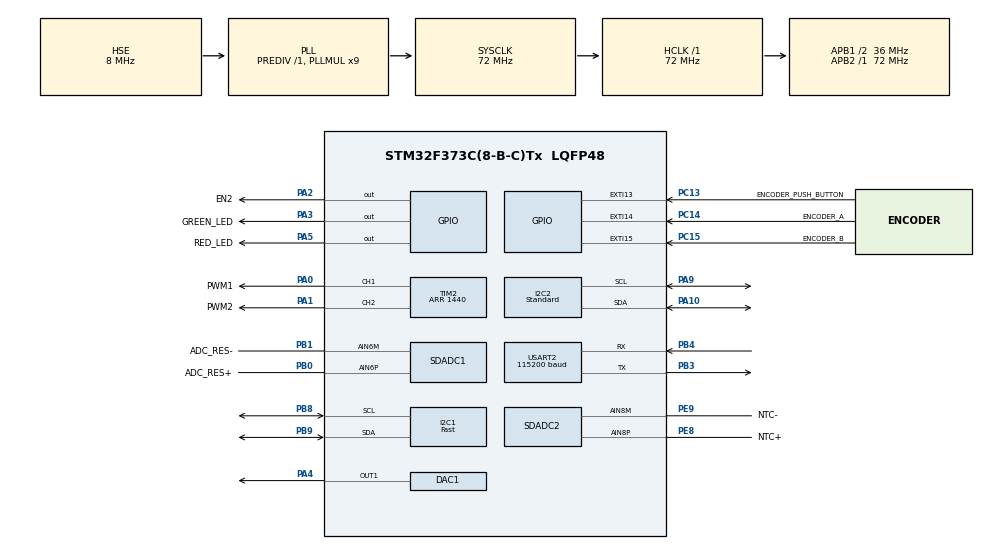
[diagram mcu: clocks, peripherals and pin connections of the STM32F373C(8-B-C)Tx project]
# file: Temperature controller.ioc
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ADC1.Channel-3\#ChannelRegularConversion=ADC_CHANNEL_VREFINT
ADC1.NbrOfConversionFlag=1
ADC1.Rank-3\#ChannelRegularConversion=1
ADC1.SamplingTime-3\#ChannelRegularConversion=ADC_SAMPLETIME_1CYCLE_5
ADC1.master=1
Dma.Request0=SDADC2
Dma.Request1=SDADC1
Dma.SDADC1.1.Direction=DMA_PERIPH_TO_MEMORY
Dma.SDADC1.1.Instance=DMA2_Channel3
Dma.SDADC1.1.MemDataAlignment=DMA_MDATAALIGN_HALFWORD
Dma.SDADC1.1.MemInc=DMA_MINC_ENABLE
Dma.SDADC1.1.Mode=DMA_CIRCULAR
Dma.SDADC1.1.PeriphDataAlignment=DMA_PDATAALIGN_HALFWORD
Dma.SDADC1.1.PeriphInc=DMA_PINC_DISABLE
Dma.SDADC1.1.Priority=DMA_PRIORITY_LOW
Dma.SDADC2.0.Direction=DMA_PERIPH_TO_MEMORY
Dma.SDADC2.0.Instance=DMA2_Channel4
Dma.SDADC2.0.MemDataAlignment=DMA_MDATAALIGN_HALFWORD
Dma.SDADC2.0.MemInc=DMA_MINC_ENABLE
Dma.SDADC2.0.Mode=DMA_CIRCULAR
Dma.SDADC2.0.PeriphDataAlignment=DMA_PDATAALIGN_HALFWORD
Dma.SDADC2.0.PeriphInc=DMA_PINC_DISABLE
Dma.SDADC2.0.Priority=DMA_PRIORITY_LOW
I2C1.I2C_Speed_Mode=I2C_Fast
I2C1.Timing=0x0000020B
I2C2.I2C_Speed_Mode=I2C_Standard
I2C2.Speed=50
I2C2.Timing=0x00101D7C
Mcu.Family=STM32F3
Mcu.Name=STM32F373C(8-B-C)Tx
Mcu.Package=LQFP48
NVIC.DMA2_Channel3_IRQn=true\:0\:0\:false\:false\:true\:false\:true
NVIC.DMA2_Channel4_IRQn=true\:0\:0\:false\:false\:true\:false\:true
NVIC.EXTI15_10_IRQn=true\:0\:0\:false\:false\:true\:true\:true
NVIC.I2C2_ER_IRQn=true\:0\:0\:false\:false\:true\:true\:true
NVIC.I2C2_EV_IRQn=true\:0\:0\:false\:false\:true\:true\:true
NVIC.PriorityGroup=NVIC_PRIORITYGROUP_4
NVIC.TIM12_IRQn=true\:0\:0\:false\:false\:true\:true\:true
NVIC.TIM3_IRQn=true\:0\:0\:false\:false\:true\:true\:true
NVIC.TIM4_IRQn=true\:0\:0\:false\:false\:true\:true\:true
NVIC.TIM6_DAC1_IRQn=true\:0\:0\:false\:false\:true\:true\:true
NVIC.TIM7_IRQn=true\:0\:0\:false\:false\:true\:true\:true
NVIC.USART2_IRQn=true\:0\:0\:false\:false\:true\:true\:true
PA0.GPIO_Label=PWM1
PA0.GPIO_Speed=GPIO_SPEED_FREQ_HIGH
PA0.Signal=S_TIM2_CH1_ETR
PA1.GPIO_Label=PWM2
PA1.GPIO_Speed=GPIO_SPEED_FREQ_HIGH
PA1.Signal=S_TIM2_CH2
PA10.GPIO_Pu=GPIO_PULLUP
PA10.Mode=I2C
PA10.Signal=I2C2_SDA
PA13.Mode=Serial_Wire
PA13.Signal=SYS_JTMS-SWDIO
PA14.Mode=Serial_Wire
PA14.Signal=SYS_JTCK-SWCLK
PA2.GPIO_Label=EN2
PA2.Signal=GPIO_Output
PA3.GPIO_Label=GREEN_LED
PA3.Signal=GPIO_Output
PA4.Signal=COMP_DAC11_group
PA5.GPIO_Label=RED_LED
PA5.Signal=GPIO_Output
PA9.GPIO_Pu=GPIO_PULLUP
PA9.Mode=I2C
PA9.Signal=I2C2_SCL
PB0.GPIO_Label=ADC_RES+
PB0.Mode=IN6-Differential
PB0.Signal=SDADC1_AIN6P
PB1.GPIO_Label=ADC_RES-
PB1.Mode=IN6-Differential
PB1.Signal=SDADC1_AIN6M
PB3.Mode=Asynchronous
PB3.Signal=USART2_TX
PB4.Mode=Asynchronous
PB4.Signal=USART2_RX
PB8.GPIO_Pu=GPIO_PULLUP
PB8.Mode=I2C
PB8.Signal=I2C1_SCL
PB9.GPIO_Pu=GPIO_PULLUP
PB9.Mode=I2C
PB9.Signal=I2C1_SDA
PC13.GPIO_Label=ENCODER_PUSH_BUTTON
PC13.GPIO_ModeDefaultEXTI=GPIO_MODE_IT_FALLING
PC13.Signal=GPXTI13
PC14-OSC32_IN.GPIO_Label=ENCODER_A
PC14-OSC32_IN.Signal=GPXTI14
PC15-OSC32_OUT.GPIO_Label=ENCODER_B
PC15-OSC32_OUT.Signal=GPXTI15
PE8.GPIO_Label=NTC+
PE8.Mode=IN8-Differential
PE8.Signal=SDADC2_AIN8P
PE9.GPIO_Label=NTC-
PE9.Mode=IN8-Differential
PE9.Signal=SDADC2_AIN8M
PF0-OSC_IN.Mode=HSE-External-Oscillator
PF0-OSC_IN.Signal=RCC_OSC_IN
PF1-OSC_OUT.Mode=HSE-External-Oscillator
PF1-OSC_OUT.Signal=RCC_OSC_OUT
ProjectManager.HeapSize=0x200
ProjectManager.StackSize=0x400
ProjectManager.TargetToolchain=STM32CubeIDE
RCC.ADCPresc=RCC_ADC1PCLK2_DIV8
RCC.AHBFreq_Value=72000000
RCC.APB1CLKDivider=RCC_HCLK_DIV2
RCC.APB1Freq_Value=36000000
RCC.APB1TimFreq_Value=72000000
RCC.APB2Freq_Value=72000000
RCC.APB2TimFreq_Value=72000000
RCC.CortexFreq_Value=72000000
RCC.HCLKFreq_Value=72000000
RCC.HSE_VALUE=8000000
RCC.HSI_VALUE=8000000
RCC.LSE_VALUE=32768
RCC.PLLMUL=RCC_PLL_MUL9
RCC.PLLSourceVirtual=RCC_PLLSOURCE_HSE
RCC.SDADCPresc=RCC_SDADCSYSCLK_DIV24
RCC.SYSCLKFreq_VALUE=72000000
RCC.SYSCLKSource=RCC_SYSCLKSOURCE_PLLCLK
RCC.USBFreq_Value=72000000
SDADC1.Channel-9\#ChannelRegularConversion=SDADC_CHANNEL_6
SDADC1.ConfIndex-9\#ChannelRegularConversion=SDADC_CONF_INDEX_0
SDADC1.ContinuousMode=SDADC_CONTINUOUS_CONV_ON
SDADC1.EnableRegularconversion=ENABLE
SDADC1.Gain0=SDADC_GAIN_1_2
SDADC1.NbrOfConversionFlag=1
SDADC1.SlowClockMode=SDADC_SLOW_CLOCK_DISABLE
SDADC2.Channel-5\#ChannelRegularConversion=SDADC_CHANNEL_8
SDADC2.ConfIndex-5\#ChannelRegularConversion=SDADC_CONF_INDEX_0
SDADC2.ContinuousMode=SDADC_CONTINUOUS_CONV_ON
SDADC2.EnableRegularconversion=ENABLE
SDADC2.Gain0=SDADC_GAIN_1_2
SDADC2.NbrOfConversionFlag=1
SDADC2.SlowClockMode=SDADC_SLOW_CLOCK_DISABLE
SH.COMP_DAC11_group.0=DAC1_OUT1,DAC_OUT1
SH.S_TIM2_CH1_ETR.0=TIM2_CH1,PWM Generation1 CH1
SH.S_TIM2_CH2.0=TIM2_CH2,PWM Generation2 CH2
TIM12.Period=100
TIM12.Prescaler=7200
TIM2.Channel-PWM\ Generation1\ CH1=TIM_CHANNEL_1
TIM2.Channel-PWM\ Generation2\ CH2=TIM_CHANNEL_2
TIM2.OCFastMode_PWM-PWM\ Generation1\ CH1=TIM_OCFAST_ENABLE
TIM2.OCFastMode_PWM-PWM\ Generation2\ CH2=TIM_OCFAST_ENABLE
TIM2.Period=1440
TIM3.AutoReloadPreload=TIM_AUTORELOAD_PRELOAD_DISABLE
TIM3.ClockDivision=TIM_CLOCKDIVISION_DIV1
TIM3.Period=10000
TIM3.Prescaler=7200
TIM4.ClockDivision=TIM_CLOCKDIVISION_DIV1
TIM4.Period=100
TIM4.Prescaler=7200
TIM6.Period=1000
TIM6.Prescaler=7200
TIM7.AutoReloadPreload=TIM_AUTORELOAD_PRELOAD_DISABLE
TIM7.Period=1000
TIM7.Prescaler=7200
USART2.AutoBaudRateEnableParam=UART_ADVFEATURE_AUTOBAUDRATE_DISABLE
USART2.BaudRate=115200
USART2.Parity=PARITY_NONE
USART2.VirtualMode-Asynchronous=VM_ASYNC
VP_ADC1_Vref_Input.Mode=IN-Vrefint
VP_CRC_VS_CRC.Mode=CRC_Activate
VP_SDADC1_CONF0.Mode=ConfigZero
VP_SDADC2_CONF0.Mode=ConfigZero
VP_TIM12_VS_ClockSourceINT.Mode=Internal
VP_TIM12_VS_ClockSourceITR.Mode=TriggerSource_ITR0
VP_TIM2_VS_ClockSourceINT.Mode=Internal
VP_TIM3_VS_ClockSourceINT.Mode=Internal
VP_TIM4_VS_ClockSourceINT.Mode=Internal
VP_TIM6_VS_ClockSourceINT.Mode=Enable_Timer
VP_TIM7_VS_ClockSourceINT.Mode=Enable_Timer
board=custom

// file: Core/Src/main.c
/* USER CODE BEGIN Header */
/**
  ******************************************************************************
  * @file           : main.c
  * @brief          : Main program body
  ******************************************************************************
  * @attention
  *
  * <h2><center>&copy; Copyright (c) 2020 STMicroelectronics.
  * All rights reserved.</center></h2>
  *
  * This software component is licensed by ST under BSD 3-Clause license,
  * the "License"; You may not use this file except in compliance with the
  * License. You may obtain a copy of the License at:
  *                        opensource.org/licenses/BSD-3-Clause
  *
  ******************************************************************************
  */
/* USER CODE END Header */
#include "main.h"

ADC_HandleTypeDef hadc1;

CRC_HandleTypeDef hcrc;

DAC_HandleTypeDef hdac1;

I2C_HandleTypeDef hi2c1;
I2C_HandleTypeDef hi2c2;

SDADC_HandleTypeDef hsdadc1;
SDADC_HandleTypeDef hsdadc2;
DMA_HandleTypeDef hdma_sdadc1;
DMA_HandleTypeDef hdma_sdadc2;

TIM_HandleTypeDef htim2;
TIM_HandleTypeDef htim3;
TIM_HandleTypeDef htim4;
TIM_HandleTypeDef htim6;
TIM_HandleTypeDef htim7;
TIM_HandleTypeDef htim12;

UART_HandleTypeDef huart2;

/* USER CODE BEGIN PV */
INA226 INA226_1,INA226_2;
/* USER CODE END PV */

void SystemClock_Config(void);
static void MX_GPIO_Init(void);
static void MX_DMA_Init(void);
static void MX_I2C1_Init(void);
static void MX_I2C2_Init(void);
static void MX_TIM2_Init(void);
static void MX_TIM3_Init(void);
static void MX_TIM4_Init(void);
static void MX_ADC1_Init(void);
static void MX_SDADC1_Init(void);
static void MX_SDADC2_Init(void);
static void MX_TIM7_Init(void);
static void MX_TIM6_Init(void);
static void MX_TIM12_Init(void);
static void MX_CRC_Init(void);
static void MX_USART2_UART_Init(void);
static void MX_DAC1_Init(void);

/* USER CODE BEGIN 0 */
//static const uint8_t    INA226_BUS_VOLTAGE         = 0x02;
/* USER CODE END 0 */

int main(void)
{

  /* MCU Configuration--------------------------------------------------------*/

  /* Reset of all peripherals, Initializes the Flash interface and the Systick. */
  HAL_Init();

  /* Configure the system clock */
  SystemClock_Config();

  /* Initialize all configured peripherals */
  MX_GPIO_Init();
  MX_DMA_Init();
  MX_I2C1_Init();
  MX_I2C2_Init();
  MX_TIM2_Init();
  MX_TIM3_Init();
  MX_TIM4_Init();
  MX_ADC1_Init();
  MX_SDADC1_Init();
  MX_SDADC2_Init();
  MX_TIM7_Init();
  MX_TIM6_Init();
  MX_TIM12_Init();
  MX_CRC_Init();
  MX_USART2_UART_Init();
  MX_DAC1_Init();
  /* USER CODE BEGIN 2 */
  htim2.Init.Period = temp_controller.pwm_counter_period;
  //------- SDADC DMA setup ----------------------------------
  read_flash();
  HAL_SDADC_CalibrationStart(&hsdadc1, SDADC_CALIBRATION_SEQ_3);
  HAL_SDADC_PollForCalibEvent(&hsdadc1, HAL_MAX_DELAY);
  HAL_SDADC_Start_DMA(&hsdadc1, (uint32_t*) adc_buf, 1);
  HAL_SDADC_CalibrationStart(&hsdadc2, SDADC_CALIBRATION_SEQ_3);
  HAL_SDADC_PollForCalibEvent(&hsdadc2, HAL_MAX_DELAY);
  HAL_SDADC_Start_DMA(&hsdadc2, (uint32_t*) &adc_buf[1], 1);
  //-----INA sensors setup ----
  INA226_Init(&INA226_1, &hi2c2, INA226_ADRESS_0,0.033,2);	//1.5A max
  INA226_Init(&INA226_2, &hi2c2, INA226_ADRESS_1,0.033,6);	//5A max
  //--------------- PWM --------------------------------
  HAL_TIM_PWM_Start(&htim2, TIM_CHANNEL_1);				//PWM
  HAL_TIM_PWM_Start(&htim2, TIM_CHANNEL_2);				//PWM
  HAL_GPIO_WritePin(EN2_GPIO_Port, EN2_Pin, 1); 		//Enable TPS565201
  HAL_DAC_Start(&hdac1, DAC_CHANNEL_1);
  //-----Timer interrupt functions ----
  HAL_TIM_Base_Start_IT(&htim3); 	//1second interrupt
  HAL_TIM_Base_Start_IT(&htim4);	//10miliseconds interrupt
  HAL_TIM_Base_Start_IT(&htim12);	//10miliseconds interrupt
  HAL_TIM_Base_Start_IT(&htim6); 	//100miliseconds interrupt
  HAL_TIM_Base_Start_IT(&htim7); 	//10second interrupt

  HAL_NVIC_SetPriority(TIM3_IRQn, 1, 0);
  HAL_NVIC_SetPriority(TIM4_IRQn, 1, 0);
  HAL_NVIC_SetPriority(TIM6_DAC1_IRQn, 1, 0);
  HAL_NVIC_SetPriority(TIM7_IRQn, 1, 0);
  HAL_NVIC_SetPriority(TIM12_IRQn, 1, 0);
  HAL_NVIC_SetPriority(USART2_IRQn, 0, 0);
  //-----OLED display setup----
  u8g2_Setup_ssd1306_128x64_noname_f(&u8g2, U8G2_R0, u8x8_byte_stm32_hw_i2c, u8x8_stm32_gpio_and_delay);
  u8g2_InitDisplay(&u8g2);
  u8g2_SetPowerSave(&u8g2, 0);
  Redraw_display();
  temp_controller.current_temp = 25;
  //main cycle
  int a=64;
  while(1){
	  if(flag_10ms){
		  flag_10ms=0;
	  }
	  if(flag_200ms){
		  flag_200ms=0;
		  //blink();
		  Redraw_display();
		  SendMeasurements_UART();
	  	  }
	  if(flag_1s){
		  flag_1s=0;
		  INA226_MeasureAll(&INA226_1);
		  INA226_MeasureAll(&INA226_2);
	  }
	  if(temp_controller.flash.menu == SNAKE_MENU)	snake_start(&u8g2);
	  HAL_UART_Receive_IT (&huart2, &UART_rxBuffer[0], a); //Dont knwo why but without it, forgets interrupt
	  HAL_Delay(1);
  }

  /* USER CODE END 2 */

  /* Infinite loop */
  while (1)
  {

  }
}

void SystemClock_Config(void)
{
  RCC_OscInitTypeDef RCC_OscInitStruct = {0};
  RCC_ClkInitTypeDef RCC_ClkInitStruct = {0};
  RCC_PeriphCLKInitTypeDef PeriphClkInit = {0};

  /** Initializes the RCC Oscillators according to the specified parameters
  * in the RCC_OscInitTypeDef structure.
  */
  RCC_OscInitStruct.OscillatorType = RCC_OSCILLATORTYPE_HSI|RCC_OSCILLATORTYPE_HSE;
  RCC_OscInitStruct.HSEState = RCC_HSE_ON;
  RCC_OscInitStruct.HSEPredivValue = RCC_HSE_PREDIV_DIV1;
  RCC_OscInitStruct.HSIState = RCC_HSI_ON;
  RCC_OscInitStruct.HSICalibrationValue = RCC_HSICALIBRATION_DEFAULT;
  RCC_OscInitStruct.PLL.PLLState = RCC_PLL_ON;
  RCC_OscInitStruct.PLL.PLLSource = RCC_PLLSOURCE_HSE;
  RCC_OscInitStruct.PLL.PLLMUL = RCC_PLL_MUL9;
  if (HAL_RCC_OscConfig(&RCC_OscInitStruct) != HAL_OK)
  {
    Error_Handler();
  }
  /** Initializes the CPU, AHB and APB buses clocks
  */
  RCC_ClkInitStruct.ClockType = RCC_CLOCKTYPE_HCLK|RCC_CLOCKTYPE_SYSCLK
                              |RCC_CLOCKTYPE_PCLK1|RCC_CLOCKTYPE_PCLK2;
  RCC_ClkInitStruct.SYSCLKSource = RCC_SYSCLKSOURCE_PLLCLK;
  RCC_ClkInitStruct.AHBCLKDivider = RCC_SYSCLK_DIV1;
  RCC_ClkInitStruct.APB1CLKDivider = RCC_HCLK_DIV2;
  RCC_ClkInitStruct.APB2CLKDivider = RCC_HCLK_DIV1;

  if (HAL_RCC_ClockConfig(&RCC_ClkInitStruct, FLASH_LATENCY_2) != HAL_OK)
  {
    Error_Handler();
  }
  PeriphClkInit.PeriphClockSelection = RCC_PERIPHCLK_USART2|RCC_PERIPHCLK_I2C1
                              |RCC_PERIPHCLK_I2C2|RCC_PERIPHCLK_ADC1
                              |RCC_PERIPHCLK_SDADC;
  PeriphClkInit.Usart2ClockSelection = RCC_USART2CLKSOURCE_PCLK1;
  PeriphClkInit.I2c1ClockSelection = RCC_I2C1CLKSOURCE_HSI;
  PeriphClkInit.I2c2ClockSelection = RCC_I2C2CLKSOURCE_HSI;
  PeriphClkInit.SdadcClockSelection = RCC_SDADCSYSCLK_DIV24;
  PeriphClkInit.Adc1ClockSelection = RCC_ADC1PCLK2_DIV8;

  if (HAL_RCCEx_PeriphCLKConfig(&PeriphClkInit) != HAL_OK)
  {
    Error_Handler();
  }
  HAL_PWREx_EnableSDADC(PWR_SDADC_ANALOG1);
  HAL_PWREx_EnableSDADC(PWR_SDADC_ANALOG2);
}

static void MX_ADC1_Init(void)
{

  ADC_ChannelConfTypeDef sConfig = {0};

  /** Common config
  */
  hadc1.Instance = ADC1;
  hadc1.Init.ScanConvMode = ADC_SCAN_DISABLE;
  hadc1.Init.ContinuousConvMode = DISABLE;
  hadc1.Init.DiscontinuousConvMode = DISABLE;
  hadc1.Init.ExternalTrigConv = ADC_SOFTWARE_START;
  hadc1.Init.DataAlign = ADC_DATAALIGN_RIGHT;
  hadc1.Init.NbrOfConversion = 1;
  if (HAL_ADC_Init(&hadc1) != HAL_OK)
  {
    Error_Handler();
  }
  /** Configure Regular Channel
  */
  sConfig.Channel = ADC_CHANNEL_VREFINT;
  sConfig.Rank = ADC_REGULAR_RANK_1;
  sConfig.SamplingTime = ADC_SAMPLETIME_1CYCLE_5;
  if (HAL_ADC_ConfigChannel(&hadc1, &sConfig) != HAL_OK)
  {
    Error_Handler();
  }

}

static void MX_CRC_Init(void)
{

  hcrc.Instance = CRC;
  hcrc.Init.DefaultPolynomialUse = DEFAULT_POLYNOMIAL_ENABLE;
  hcrc.Init.DefaultInitValueUse = DEFAULT_INIT_VALUE_ENABLE;
  hcrc.Init.InputDataInversionMode = CRC_INPUTDATA_INVERSION_NONE;
  hcrc.Init.OutputDataInversionMode = CRC_OUTPUTDATA_INVERSION_DISABLE;
  hcrc.InputDataFormat = CRC_INPUTDATA_FORMAT_BYTES;
  if (HAL_CRC_Init(&hcrc) != HAL_OK)
  {
    Error_Handler();
  }

}

static void MX_DAC1_Init(void)
{

  DAC_ChannelConfTypeDef sConfig = {0};

  /** DAC Initialization
  */
  hdac1.Instance = DAC1;
  if (HAL_DAC_Init(&hdac1) != HAL_OK)
  {
    Error_Handler();
  }
  /** DAC channel OUT1 config
  */
  sConfig.DAC_Trigger = DAC_TRIGGER_NONE;
  sConfig.DAC_OutputBuffer = DAC_OUTPUTBUFFER_ENABLE;
  if (HAL_DAC_ConfigChannel(&hdac1, &sConfig, DAC_CHANNEL_1) != HAL_OK)
  {
    Error_Handler();
  }

}

static void MX_I2C1_Init(void)
{

  hi2c1.Instance = I2C1;
  hi2c1.Init.Timing = 0x0000020B;
  hi2c1.Init.OwnAddress1 = 0;
  hi2c1.Init.AddressingMode = I2C_ADDRESSINGMODE_7BIT;
  hi2c1.Init.DualAddressMode = I2C_DUALADDRESS_DISABLE;
  hi2c1.Init.OwnAddress2 = 0;
  hi2c1.Init.OwnAddress2Masks = I2C_OA2_NOMASK;
  hi2c1.Init.GeneralCallMode = I2C_GENERALCALL_DISABLE;
  hi2c1.Init.NoStretchMode = I2C_NOSTRETCH_DISABLE;
  if (HAL_I2C_Init(&hi2c1) != HAL_OK)
  {
    Error_Handler();
  }
  /** Configure Analogue filter
  */
  if (HAL_I2CEx_ConfigAnalogFilter(&hi2c1, I2C_ANALOGFILTER_ENABLE) != HAL_OK)
  {
    Error_Handler();
  }
  /** Configure Digital filter
  */
  if (HAL_I2CEx_ConfigDigitalFilter(&hi2c1, 0) != HAL_OK)
  {
    Error_Handler();
  }

}

static void MX_I2C2_Init(void)
{

  hi2c2.Instance = I2C2;
  hi2c2.Init.Timing = 0x00101D7C;
  hi2c2.Init.OwnAddress1 = 0;
  hi2c2.Init.AddressingMode = I2C_ADDRESSINGMODE_7BIT;
  hi2c2.Init.DualAddressMode = I2C_DUALADDRESS_DISABLE;
  hi2c2.Init.OwnAddress2 = 0;
  hi2c2.Init.OwnAddress2Masks = I2C_OA2_NOMASK;
  hi2c2.Init.GeneralCallMode = I2C_GENERALCALL_DISABLE;
  hi2c2.Init.NoStretchMode = I2C_NOSTRETCH_DISABLE;
  if (HAL_I2C_Init(&hi2c2) != HAL_OK)
  {
    Error_Handler();
  }
  /** Configure Analogue filter
  */
  if (HAL_I2CEx_ConfigAnalogFilter(&hi2c2, I2C_ANALOGFILTER_ENABLE) != HAL_OK)
  {
    Error_Handler();
  }
  /** Configure Digital filter
  */
  if (HAL_I2CEx_ConfigDigitalFilter(&hi2c2, 0) != HAL_OK)
  {
    Error_Handler();
  }

}

static void MX_SDADC1_Init(void)
{

  SDADC_ConfParamTypeDef ConfParamStruct = {0};

  /** Configure the SDADC low power mode, fast conversion mode,
  slow clock mode and SDADC1 reference voltage
  */
  hsdadc1.Instance = SDADC1;
  hsdadc1.Init.IdleLowPowerMode = SDADC_LOWPOWER_NONE;
  hsdadc1.Init.FastConversionMode = SDADC_FAST_CONV_DISABLE;
  hsdadc1.Init.SlowClockMode = SDADC_SLOW_CLOCK_DISABLE;
  hsdadc1.Init.ReferenceVoltage = SDADC_VREF_EXT;
  if (HAL_SDADC_Init(&hsdadc1) != HAL_OK)
  {
    Error_Handler();
  }
  /** Configure The Regular Mode
  */
  if (HAL_SDADC_SelectRegularTrigger(&hsdadc1, SDADC_SOFTWARE_TRIGGER) != HAL_OK)
  {
    Error_Handler();
  }
  /** Set parameters for SDADC configuration 0 Register
  */
  ConfParamStruct.InputMode = SDADC_INPUT_MODE_DIFF;
  ConfParamStruct.Gain = SDADC_GAIN_1_2;
  ConfParamStruct.CommonMode = SDADC_COMMON_MODE_VSSA;
  ConfParamStruct.Offset = 0;
  if (HAL_SDADC_PrepareChannelConfig(&hsdadc1, SDADC_CONF_INDEX_0, &ConfParamStruct) != HAL_OK)
  {
    Error_Handler();
  }
  /** Configure the Regular Channel
  */
  if (HAL_SDADC_AssociateChannelConfig(&hsdadc1, SDADC_CHANNEL_6, SDADC_CONF_INDEX_0) != HAL_OK)
  {
    Error_Handler();
  }
  if (HAL_SDADC_ConfigChannel(&hsdadc1, SDADC_CHANNEL_6, SDADC_CONTINUOUS_CONV_ON) != HAL_OK)
  {
    Error_Handler();
  }

}

static void MX_SDADC2_Init(void)
{

  SDADC_ConfParamTypeDef ConfParamStruct = {0};

  /** Configure the SDADC low power mode, fast conversion mode,
  slow clock mode and SDADC1 reference voltage
  */
  hsdadc2.Instance = SDADC2;
  hsdadc2.Init.IdleLowPowerMode = SDADC_LOWPOWER_NONE;
  hsdadc2.Init.FastConversionMode = SDADC_FAST_CONV_DISABLE;
  hsdadc2.Init.SlowClockMode = SDADC_SLOW_CLOCK_DISABLE;
  hsdadc2.Init.ReferenceVoltage = SDADC_VREF_EXT;
  if (HAL_SDADC_Init(&hsdadc2) != HAL_OK)
  {
    Error_Handler();
  }
  /** Configure The Regular Mode
  */
  if (HAL_SDADC_SelectRegularTrigger(&hsdadc2, SDADC_SOFTWARE_TRIGGER) != HAL_OK)
  {
    Error_Handler();
  }
  /** Set parameters for SDADC configuration 0 Register
  */
  ConfParamStruct.InputMode = SDADC_INPUT_MODE_DIFF;
  ConfParamStruct.Gain = SDADC_GAIN_1_2;
  ConfParamStruct.CommonMode = SDADC_COMMON_MODE_VSSA;
  ConfParamStruct.Offset = 0;
  if (HAL_SDADC_PrepareChannelConfig(&hsdadc2, SDADC_CONF_INDEX_0, &ConfParamStruct) != HAL_OK)
  {
    Error_Handler();
  }
  /** Configure the Regular Channel
  */
  if (HAL_SDADC_AssociateChannelConfig(&hsdadc2, SDADC_CHANNEL_8, SDADC_CONF_INDEX_0) != HAL_OK)
  {
    Error_Handler();
  }
  if (HAL_SDADC_ConfigChannel(&hsdadc2, SDADC_CHANNEL_8, SDADC_CONTINUOUS_CONV_ON) != HAL_OK)
  {
    Error_Handler();
  }

}

static void MX_TIM2_Init(void)
{

  TIM_ClockConfigTypeDef sClockSourceConfig = {0};
  TIM_MasterConfigTypeDef sMasterConfig = {0};
  TIM_OC_InitTypeDef sConfigOC = {0};

  htim2.Instance = TIM2;
  htim2.Init.Prescaler = 0;
  htim2.Init.CounterMode = TIM_COUNTERMODE_UP;
  htim2.Init.Period = 1440;
  htim2.Init.ClockDivision = TIM_CLOCKDIVISION_DIV1;
  htim2.Init.AutoReloadPreload = TIM_AUTORELOAD_PRELOAD_DISABLE;
  if (HAL_TIM_Base_Init(&htim2) != HAL_OK)
  {
    Error_Handler();
  }
  sClockSourceConfig.ClockSource = TIM_CLOCKSOURCE_INTERNAL;
  if (HAL_TIM_ConfigClockSource(&htim2, &sClockSourceConfig) != HAL_OK)
  {
    Error_Handler();
  }
  if (HAL_TIM_PWM_Init(&htim2) != HAL_OK)
  {
    Error_Handler();
  }
  sMasterConfig.MasterOutputTrigger = TIM_TRGO_RESET;
  sMasterConfig.MasterSlaveMode = TIM_MASTERSLAVEMODE_DISABLE;
  if (HAL_TIMEx_MasterConfigSynchronization(&htim2, &sMasterConfig) != HAL_OK)
  {
    Error_Handler();
  }
  sConfigOC.OCMode = TIM_OCMODE_PWM1;
  sConfigOC.Pulse = 0;
  sConfigOC.OCPolarity = TIM_OCPOLARITY_HIGH;
  sConfigOC.OCFastMode = TIM_OCFAST_ENABLE;
  if (HAL_TIM_PWM_ConfigChannel(&htim2, &sConfigOC, TIM_CHANNEL_1) != HAL_OK)
  {
    Error_Handler();
  }
  if (HAL_TIM_PWM_ConfigChannel(&htim2, &sConfigOC, TIM_CHANNEL_2) != HAL_OK)
  {
    Error_Handler();
  }
  HAL_TIM_MspPostInit(&htim2);

}

static void MX_TIM3_Init(void)
{

  TIM_ClockConfigTypeDef sClockSourceConfig = {0};
  TIM_MasterConfigTypeDef sMasterConfig = {0};

  htim3.Instance = TIM3;
  htim3.Init.Prescaler = 7200;
  htim3.Init.CounterMode = TIM_COUNTERMODE_UP;
  htim3.Init.Period = 10000;
  htim3.Init.ClockDivision = TIM_CLOCKDIVISION_DIV1;
  htim3.Init.AutoReloadPreload = TIM_AUTORELOAD_PRELOAD_DISABLE;
  if (HAL_TIM_Base_Init(&htim3) != HAL_OK)
  {
    Error_Handler();
  }
  sClockSourceConfig.ClockSource = TIM_CLOCKSOURCE_INTERNAL;
  if (HAL_TIM_ConfigClockSource(&htim3, &sClockSourceConfig) != HAL_OK)
  {
    Error_Handler();
  }
  sMasterConfig.MasterOutputTrigger = TIM_TRGO_RESET;
  sMasterConfig.MasterSlaveMode = TIM_MASTERSLAVEMODE_DISABLE;
  if (HAL_TIMEx_MasterConfigSynchronization(&htim3, &sMasterConfig) != HAL_OK)
  {
    Error_Handler();
  }

}

static void MX_TIM4_Init(void)
{

  TIM_ClockConfigTypeDef sClockSourceConfig = {0};
  TIM_MasterConfigTypeDef sMasterConfig = {0};

  htim4.Instance = TIM4;
  htim4.Init.Prescaler = 7200;
  htim4.Init.CounterMode = TIM_COUNTERMODE_UP;
  htim4.Init.Period = 100;
  htim4.Init.ClockDivision = TIM_CLOCKDIVISION_DIV1;
  htim4.Init.AutoReloadPreload = TIM_AUTORELOAD_PRELOAD_DISABLE;
  if (HAL_TIM_Base_Init(&htim4) != HAL_OK)
  {
    Error_Handler();
  }
  sClockSourceConfig.ClockSource = TIM_CLOCKSOURCE_INTERNAL;
  if (HAL_TIM_ConfigClockSource(&htim4, &sClockSourceConfig) != HAL_OK)
  {
    Error_Handler();
  }
  sMasterConfig.MasterOutputTrigger = TIM_TRGO_RESET;
  sMasterConfig.MasterSlaveMode = TIM_MASTERSLAVEMODE_DISABLE;
  if (HAL_TIMEx_MasterConfigSynchronization(&htim4, &sMasterConfig) != HAL_OK)
  {
    Error_Handler();
  }

}

static void MX_TIM6_Init(void)
{

  TIM_MasterConfigTypeDef sMasterConfig = {0};

  htim6.Instance = TIM6;
  htim6.Init.Prescaler = 7200;
  htim6.Init.CounterMode = TIM_COUNTERMODE_UP;
  htim6.Init.Period = 1000;
  htim6.Init.AutoReloadPreload = TIM_AUTORELOAD_PRELOAD_DISABLE;
  if (HAL_TIM_Base_Init(&htim6) != HAL_OK)
  {
    Error_Handler();
  }
  sMasterConfig.MasterOutputTrigger = TIM_TRGO_RESET;
  sMasterConfig.MasterSlaveMode = TIM_MASTERSLAVEMODE_DISABLE;
  if (HAL_TIMEx_MasterConfigSynchronization(&htim6, &sMasterConfig) != HAL_OK)
  {
    Error_Handler();
  }

}

static void MX_TIM7_Init(void)
{

  TIM_MasterConfigTypeDef sMasterConfig = {0};

  htim7.Instance = TIM7;
  htim7.Init.Prescaler = 7200;
  htim7.Init.CounterMode = TIM_COUNTERMODE_UP;
  htim7.Init.Period = 1000;
  htim7.Init.AutoReloadPreload = TIM_AUTORELOAD_PRELOAD_DISABLE;
  if (HAL_TIM_Base_Init(&htim7) != HAL_OK)
  {
    Error_Handler();
  }
  sMasterConfig.MasterOutputTrigger = TIM_TRGO_RESET;
  sMasterConfig.MasterSlaveMode = TIM_MASTERSLAVEMODE_DISABLE;
  if (HAL_TIMEx_MasterConfigSynchronization(&htim7, &sMasterConfig) != HAL_OK)
  {
    Error_Handler();
  }

}

static void MX_TIM12_Init(void)
{

  TIM_ClockConfigTypeDef sClockSourceConfig = {0};
  TIM_SlaveConfigTypeDef sSlaveConfig = {0};

  htim12.Instance = TIM12;
  htim12.Init.Prescaler = 7200;
  htim12.Init.CounterMode = TIM_COUNTERMODE_UP;
  htim12.Init.Period = 100;
  htim12.Init.ClockDivision = TIM_CLOCKDIVISION_DIV1;
  htim12.Init.AutoReloadPreload = TIM_AUTORELOAD_PRELOAD_DISABLE;
  if (HAL_TIM_Base_Init(&htim12) != HAL_OK)
  {
    Error_Handler();
  }
  sClockSourceConfig.ClockSource = TIM_CLOCKSOURCE_INTERNAL;
  if (HAL_TIM_ConfigClockSource(&htim12, &sClockSourceConfig) != HAL_OK)
  {
    Error_Handler();
  }
  sSlaveConfig.SlaveMode = TIM_SLAVEMODE_DISABLE;
  sSlaveConfig.InputTrigger = TIM_TS_ITR0;
  if (HAL_TIM_SlaveConfigSynchro(&htim12, &sSlaveConfig) != HAL_OK)
  {
    Error_Handler();
  }

}

static void MX_USART2_UART_Init(void)
{

  huart2.Instance = USART2;
  huart2.Init.BaudRate = 115200;
  huart2.Init.WordLength = UART_WORDLENGTH_8B;
  huart2.Init.StopBits = UART_STOPBITS_1;
  huart2.Init.Parity = UART_PARITY_NONE;
  huart2.Init.Mode = UART_MODE_TX_RX;
  huart2.Init.HwFlowCtl = UART_HWCONTROL_NONE;
  huart2.Init.OverSampling = UART_OVERSAMPLING_16;
  huart2.Init.OneBitSampling = UART_ONE_BIT_SAMPLE_DISABLE;
  huart2.AdvancedInit.AdvFeatureInit = UART_ADVFEATURE_NO_INIT;
  if (HAL_UART_Init(&huart2) != HAL_OK)
  {
    Error_Handler();
  }

}

static void MX_DMA_Init(void)
{

  /* DMA controller clock enable */
  __HAL_RCC_DMA2_CLK_ENABLE();

  /* DMA interrupt init */
  /* DMA2_Channel3_IRQn interrupt configuration */
  HAL_NVIC_SetPriority(DMA2_Channel3_IRQn, 0, 0);
  HAL_NVIC_EnableIRQ(DMA2_Channel3_IRQn);
  /* DMA2_Channel4_IRQn interrupt configuration */
  HAL_NVIC_SetPriority(DMA2_Channel4_IRQn, 0, 0);
  HAL_NVIC_EnableIRQ(DMA2_Channel4_IRQn);

}

static void MX_GPIO_Init(void)
{
  GPIO_InitTypeDef GPIO_InitStruct = {0};

  /* GPIO Ports Clock Enable */
  __HAL_RCC_GPIOC_CLK_ENABLE();
  __HAL_RCC_GPIOF_CLK_ENABLE();
  __HAL_RCC_GPIOA_CLK_ENABLE();
  __HAL_RCC_GPIOB_CLK_ENABLE();
  __HAL_RCC_GPIOE_CLK_ENABLE();

  /*Configure GPIO pin Output Level */
  HAL_GPIO_WritePin(GPIOA, EN2_Pin|GREEN_LED_Pin|RED_LED_Pin, GPIO_PIN_RESET);

  /*Configure GPIO pin : ENCODER_PUSH_BUTTON_Pin */
  GPIO_InitStruct.Pin = ENCODER_PUSH_BUTTON_Pin;
  GPIO_InitStruct.Mode = GPIO_MODE_IT_FALLING;
  GPIO_InitStruct.Pull = GPIO_NOPULL;
  HAL_GPIO_Init(ENCODER_PUSH_BUTTON_GPIO_Port, &GPIO_InitStruct);

  /*Configure GPIO pins : ENCODER_A_Pin ENCODER_B_Pin */
  GPIO_InitStruct.Pin = ENCODER_A_Pin|ENCODER_B_Pin;
  GPIO_InitStruct.Mode = GPIO_MODE_IT_RISING;
  GPIO_InitStruct.Pull = GPIO_NOPULL;
  HAL_GPIO_Init(GPIOC, &GPIO_InitStruct);

  /*Configure GPIO pins : EN2_Pin GREEN_LED_Pin RED_LED_Pin */
  GPIO_InitStruct.Pin = EN2_Pin|GREEN_LED_Pin|RED_LED_Pin;
  GPIO_InitStruct.Mode = GPIO_MODE_OUTPUT_PP;
  GPIO_InitStruct.Pull = GPIO_NOPULL;
  GPIO_InitStruct.Speed = GPIO_SPEED_FREQ_LOW;
  HAL_GPIO_Init(GPIOA, &GPIO_InitStruct);

  /* EXTI interrupt init*/
  HAL_NVIC_SetPriority(EXTI15_10_IRQn, 0, 0);
  HAL_NVIC_EnableIRQ(EXTI15_10_IRQn);

}

void Error_Handler(void)
{
}
